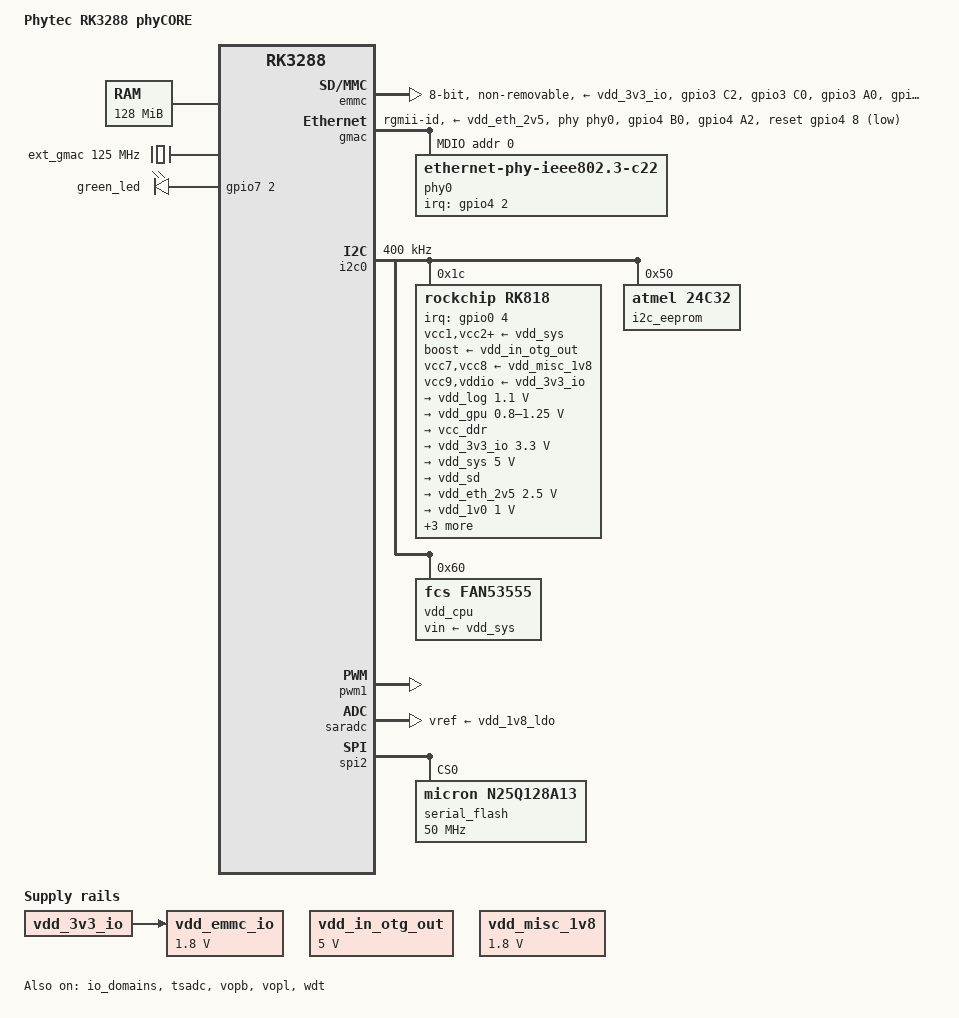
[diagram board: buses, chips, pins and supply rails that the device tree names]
// SPDX-License-Identifier: (GPL-2.0+ OR MIT)
/*
 * Device tree file for Phytec phyCORE-RK3288 SoM
 * Copyright (C) 2017 PHYTEC Messtechnik GmbH
 * Author: Wadim Egorov <w.egorov@phytec.de>
 */

#include <dt-bindings/net/ti-dp83867.h>
#include "rk3288.dtsi"

/ {
	model = "Phytec RK3288 phyCORE";
	compatible = "phytec,rk3288-phycore-som", "rockchip,rk3288";

	/*
	 * Set the minimum memory size here and
	 * let the bootloader set the real size.
	 */
	memory {
		device_type = "memory";
		reg = <0x0 0x0 0x0 0x8000000>;
	};

	aliases {
		rtc0 = &i2c_rtc;
		rtc1 = &rk818;
	};

	ext_gmac: external-gmac-clock {
		compatible = "fixed-clock";
		#clock-cells = <0>;
		clock-frequency = <125000000>;
		clock-output-names = "ext_gmac";
	};

	leds: user-leds {
		compatible = "gpio-leds";
		pinctrl-names = "default";
		pinctrl-0 = <&user_led_pin>;

		user_led: led-0 {
			label = "green_led";
			gpios = <&gpio7 2 GPIO_ACTIVE_HIGH>;
			linux,default-trigger = "heartbeat";
			default-state = "keep";
		};
	};

	vdd_emmc_io: regulator-vdd-emmc-io {
		compatible = "regulator-fixed";
		regulator-name = "vdd_emmc_io";
		regulator-min-microvolt = <1800000>;
		regulator-max-microvolt = <1800000>;
		vin-supply = <&vdd_3v3_io>;
	};

	vdd_in_otg_out: regulator-vdd-in-otg-out {
		compatible = "regulator-fixed";
		regulator-name = "vdd_in_otg_out";
		regulator-always-on;
		regulator-boot-on;
		regulator-min-microvolt = <5000000>;
		regulator-max-microvolt = <5000000>;
	};

	vdd_misc_1v8: regulator-vdd-misc-1v8 {
		compatible = "regulator-fixed";
		regulator-name = "vdd_misc_1v8";
		regulator-always-on;
		regulator-boot-on;
		regulator-min-microvolt = <1800000>;
		regulator-max-microvolt = <1800000>;
	};
};

&emmc {
	status = "okay";
	bus-width = <8>;
	cap-mmc-highspeed;
	disable-wp;
	non-removable;
	pinctrl-names = "default";
	pinctrl-0 = <&emmc_clk &emmc_cmd &emmc_pwr &emmc_bus8>;
	vmmc-supply = <&vdd_3v3_io>;
	vqmmc-supply = <&vdd_emmc_io>;
};

&gmac {
	assigned-clocks = <&cru SCLK_MAC>;
	assigned-clock-parents = <&ext_gmac>;
	clock_in_out = "input";
	pinctrl-names = "default";
	pinctrl-0 = <&rgmii_pins &phy_rst &phy_int>;
	phy-handle = <&phy0>;
	phy-supply = <&vdd_eth_2v5>;
	phy-mode = "rgmii-id";
	snps,reset-active-low;
	snps,reset-delays-us = <0 10000 1000000>;
	snps,reset-gpio = <&gpio4 8 GPIO_ACTIVE_HIGH>;
	tx_delay = <0x0>;
	rx_delay = <0x0>;

	mdio0 {
		compatible = "snps,dwmac-mdio";
		#address-cells = <1>;
		#size-cells = <0>;

		phy0: ethernet-phy@0 {
			compatible = "ethernet-phy-ieee802.3-c22";
			reg = <0>;
			interrupt-parent = <&gpio4>;
			interrupts = <2 IRQ_TYPE_EDGE_FALLING>;
			ti,rx-internal-delay = <DP83867_RGMIIDCTL_2_00_NS>;
			ti,tx-internal-delay = <DP83867_RGMIIDCTL_2_00_NS>;
			ti,fifo-depth = <DP83867_PHYCR_FIFO_DEPTH_4_B_NIB>;
			enet-phy-lane-no-swap;
			ti,clk-output-sel = <DP83867_CLK_O_SEL_CHN_A_TCLK>;
		};
	};
};

&hdmi {
	ddc-i2c-bus = <&i2c5>;
};

&io_domains {
	status = "okay";
	sdcard-supply = <&vdd_io_sd>;
	flash0-supply = <&vdd_emmc_io>;
	flash1-supply = <&vdd_misc_1v8>;
	gpio1830-supply = <&vdd_3v3_io>;
	gpio30-supply = <&vdd_3v3_io>;
	bb-supply = <&vdd_3v3_io>;
	dvp-supply = <&vdd_3v3_io>;
	lcdc-supply = <&vdd_3v3_io>;
	wifi-supply = <&vdd_3v3_io>;
	audio-supply = <&vdd_3v3_io>;
};

&i2c0 {
	status = "okay";
	clock-frequency = <400000>;

	rk818: pmic@1c {
		compatible = "rockchip,rk818";
		reg = <0x1c>;
		interrupt-parent = <&gpio0>;
		interrupts = <4 IRQ_TYPE_LEVEL_LOW>;
		pinctrl-names = "default";
		pinctrl-0 = <&pmic_int>;
		rockchip,system-power-controller;
		wakeup-source;
		#clock-cells = <1>;

		vcc1-supply = <&vdd_sys>;
		vcc2-supply = <&vdd_sys>;
		vcc3-supply = <&vdd_sys>;
		vcc4-supply = <&vdd_sys>;
		boost-supply = <&vdd_in_otg_out>;
		vcc6-supply = <&vdd_sys>;
		vcc7-supply = <&vdd_misc_1v8>;
		vcc8-supply = <&vdd_misc_1v8>;
		vcc9-supply = <&vdd_3v3_io>;
		vddio-supply = <&vdd_3v3_io>;

		regulators {
			vdd_log: DCDC_REG1 {
				regulator-name = "vdd_log";
				regulator-always-on;
				regulator-boot-on;
				regulator-min-microvolt = <1100000>;
				regulator-max-microvolt = <1100000>;
				regulator-state-mem {
					regulator-off-in-suspend;
				};
			};

			vdd_gpu: DCDC_REG2 {
				regulator-name = "vdd_gpu";
				regulator-always-on;
				regulator-boot-on;
				regulator-min-microvolt = <800000>;
				regulator-max-microvolt = <1250000>;
				regulator-state-mem {
					regulator-on-in-suspend;
					regulator-suspend-microvolt = <1000000>;
				};
			};

			vcc_ddr: DCDC_REG3 {
				regulator-name = "vcc_ddr";
				regulator-always-on;
				regulator-boot-on;
				regulator-state-mem {
					regulator-on-in-suspend;
				};
			};

			vdd_3v3_io: DCDC_REG4 {
				regulator-name = "vdd_3v3_io";
				regulator-always-on;
				regulator-boot-on;
				regulator-min-microvolt = <3300000>;
				regulator-max-microvolt = <3300000>;
				regulator-state-mem {
					regulator-on-in-suspend;
					regulator-suspend-microvolt = <3300000>;
				};
			};

			vdd_sys: DCDC_BOOST {
				regulator-name = "vdd_sys";
				regulator-always-on;
				regulator-boot-on;
				regulator-min-microvolt = <5000000>;
				regulator-max-microvolt = <5000000>;
				regulator-state-mem {
					regulator-on-in-suspend;
					regulator-suspend-microvolt = <5000000>;
				};
			};

			/* vcc9 */
			vdd_sd: SWITCH_REG {
				regulator-name = "vdd_sd";
				regulator-always-on;
				regulator-boot-on;
				regulator-state-mem {
					regulator-off-in-suspend;
				};
			};

			/* vcc6 */
			vdd_eth_2v5: LDO_REG2 {
				regulator-name = "vdd_eth_2v5";
				regulator-always-on;
				regulator-boot-on;
				regulator-min-microvolt = <2500000>;
				regulator-max-microvolt = <2500000>;
				regulator-state-mem {
					regulator-on-in-suspend;
					regulator-suspend-microvolt = <2500000>;
				};
			};

			/* vcc7 */
			vdd_1v0: LDO_REG3 {
				regulator-name = "vdd_1v0";
				regulator-always-on;
				regulator-boot-on;
				regulator-min-microvolt = <1000000>;
				regulator-max-microvolt = <1000000>;
				regulator-state-mem {
					regulator-on-in-suspend;
					regulator-suspend-microvolt = <1000000>;
				};
			};

			/* vcc8 */
			vdd_1v8_lcd_ldo: LDO_REG4 {
				regulator-name = "vdd_1v8_lcd_ldo";
				regulator-always-on;
				regulator-boot-on;
				regulator-min-microvolt = <1800000>;
				regulator-max-microvolt = <1800000>;
				regulator-state-mem {
					regulator-on-in-suspend;
					regulator-suspend-microvolt = <1800000>;
				};
			};

			/* vcc8 */
			vdd_1v0_lcd: LDO_REG6 {
				regulator-name = "vdd_1v0_lcd";
				regulator-always-on;
				regulator-boot-on;
				regulator-min-microvolt = <1000000>;
				regulator-max-microvolt = <1000000>;
				regulator-state-mem {
					regulator-on-in-suspend;
					regulator-suspend-microvolt = <1000000>;
				};
			};

			/* vcc7 */
			vdd_1v8_ldo: LDO_REG7 {
				regulator-name = "vdd_1v8_ldo";
				regulator-always-on;
				regulator-boot-on;
				regulator-min-microvolt = <1800000>;
				regulator-max-microvolt = <1800000>;
				regulator-state-mem {
					regulator-off-in-suspend;
					regulator-suspend-microvolt = <1800000>;
				};
			};

			/* vcc9 */
			vdd_io_sd: LDO_REG9 {
				regulator-name = "vdd_io_sd";
				regulator-always-on;
				regulator-boot-on;
				regulator-min-microvolt = <1800000>;
				regulator-max-microvolt = <3300000>;
				regulator-state-mem {
					regulator-off-in-suspend;
				};
			};
		};
	};

	/* M24C32-D */
	i2c_eeprom: eeprom@50 {
		compatible = "atmel,24c32";
		reg = <0x50>;
		pagesize = <32>;
	};

	vdd_cpu: regulator@60 {
		compatible = "fcs,fan53555";
		reg = <0x60>;
		fcs,suspend-voltage-selector = <1>;
		regulator-always-on;
		regulator-boot-on;
		regulator-enable-ramp-delay = <300>;
		regulator-name = "vdd_cpu";
		regulator-min-microvolt = <800000>;
		regulator-max-microvolt = <1430000>;
		regulator-ramp-delay = <8000>;
		vin-supply = <&vdd_sys>;
	};
};

&pinctrl {
	pcfg_output_high: pcfg-output-high {
		output-high;
	};

	emmc {
		/*
		 * We run eMMC at max speed; bump up drive strength.
		 * We also have external pulls, so disable the internal ones.
		 */
		emmc_clk: emmc-clk {
			rockchip,pins = <3 RK_PC2 2 &pcfg_pull_none_12ma>;
		};

		emmc_cmd: emmc-cmd {
			rockchip,pins = <3 RK_PC0 2 &pcfg_pull_none_12ma>;
		};

		emmc_bus8: emmc-bus8 {
			rockchip,pins = <3 RK_PA0 2 &pcfg_pull_none_12ma>,
					<3 RK_PA1 2 &pcfg_pull_none_12ma>,
					<3 RK_PA2 2 &pcfg_pull_none_12ma>,
					<3 RK_PA3 2 &pcfg_pull_none_12ma>,
					<3 RK_PA4 2 &pcfg_pull_none_12ma>,
					<3 RK_PA5 2 &pcfg_pull_none_12ma>,
					<3 RK_PA6 2 &pcfg_pull_none_12ma>,
					<3 RK_PA7 2 &pcfg_pull_none_12ma>;
		};
	};

	gmac {
		phy_int: phy-int {
			rockchip,pins = <4 RK_PA2 RK_FUNC_GPIO &pcfg_pull_up>;
		};

		phy_rst: phy-rst {
			rockchip,pins = <4 RK_PB0 RK_FUNC_GPIO &pcfg_output_high>;
		};
	};

	leds {
		user_led_pin: user-led-pin {
			rockchip,pins = <7 RK_PA2 RK_FUNC_GPIO &pcfg_output_high>;
		};
	};

	pmic {
		pmic_int: pmic-int {
			rockchip,pins = <0 RK_PA4 RK_FUNC_GPIO &pcfg_pull_up>;
		};

		/* Pin for switching state between sleep and non-sleep state */
		pmic_sleep: pmic-sleep {
			rockchip,pins = <0 RK_PA0 RK_FUNC_GPIO &pcfg_pull_up>;
		};
	};
};

&pwm1 {
	status = "okay";
};

&saradc {
	status = "okay";
	vref-supply = <&vdd_1v8_ldo>;
};

&spi2 {
	status = "okay";

	serial_flash: flash@0 {
		compatible = "micron,n25q128a13", "jedec,spi-nor";
		reg = <0x0>;
		spi-max-frequency = <50000000>;
		m25p,fast-read;
		#address-cells = <1>;
		#size-cells = <1>;
		status = "okay";
	};
};

&tsadc {
	status = "okay";
	rockchip,hw-tshut-mode = <0>;
	rockchip,hw-tshut-polarity = <0>;
};

&vopb {
	status = "okay";
};

&vopb_mmu {
	status = "okay";
};

&vopl {
	status = "okay";
};

&vopl_mmu {
	status = "okay";
};

&wdt {
	status = "okay";
};
